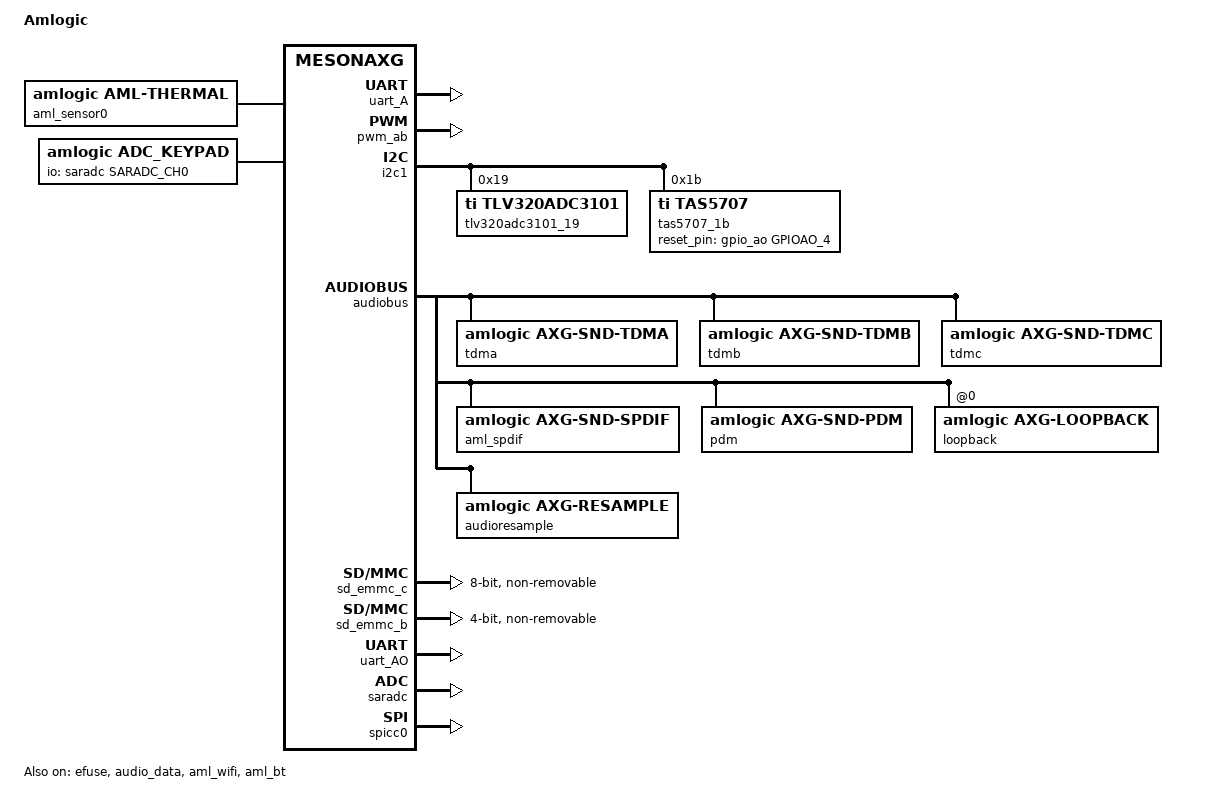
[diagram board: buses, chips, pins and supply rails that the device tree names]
// SPDX-License-Identifier: (GPL-2.0+ OR MIT)
/*
 * Copyright (c) 2019 Amlogic, Inc. All rights reserved.
 */

/dts-v1/;

#include "mesonaxg.dtsi"

/ {
	model = "Amlogic";
	amlogic-dt-id = "axg_s420_512m";
	compatible = "amlogic, axg";
	interrupt-parent = <&gic>;
	#address-cells = <2>;
	#size-cells = <2>;

	aliases {
		serial0 = &uart_AO;
		serial1 = &uart_A;
		i2c0 = &i2c0;
		i2c1 = &i2c1;
		i2c2 = &i2c2;
		i2c3 = &i2c3;
		i2c_AO = &i2c_AO;
		spi1 = &spicc0;
		spi2 = &spicc1;
	};

	memory@00000000 {
		device_type = "memory";
		linux,usable-memory = <0x0 0x000000 0x0 0x20000000>;
	};

	reserved-memory {
		#address-cells = <2>;
		#size-cells = <2>;
		ranges;
		/* global autoconfigured region for contiguous allocations */
		ramoops@0x07400000 {
			compatible = "ramoops";
			reg = <0x0 0x07400000 0x0 0x00100000>;
			record-size = <0x20000>;
			console-size = <0x40000>;
			ftrace-size = <0x80000>;
			pmsg-size = <0x20000>;
		};

		secmon_reserved:linux,secmon {
			compatible = "shared-dma-pool";
			reusable;
			size = <0x0 0x400000>;
			alignment = <0x0 0x400000>;
			alloc-ranges = <0x0 0x05000000 0x0 0x400000>;
		};

		secos_reserved:linux,secos {
			status = "disable";
			compatible = "amlogic, aml_secos_memory";
			reg = <0x0 0x05300000 0x0 0x2000000>;
			no-map;
		};
	};

	meson_cooldev: meson-cooldev@0 {
		status = "okay";
		compatible = "amlogic, meson-cooldev";
		cooling_devices {
			cpucore_cool_cluster0 {
				cluster_id = <0>;
				node_name = "cpucore_cool0";
				device_type = "cpucore";
			};
		};
		cpucore_cool0:cpucore_cool0 {
			#cooling-cells = <2>;
		};
	};/*meson cooling devices end*/

	aml_sensor0: aml-sensor@0 {
		compatible = "amlogic, aml-thermal";
		device_name = "thermal";
		#thermal-sensor-cells = <1>;
		mboxes = <&mailbox 0>;
	};
	thermal-zones {
		soc_thermal {
			polling-delay = <1000>;
			polling-delay-passive = <100>;
			sustainable-power = <1050>;

			thermal-sensors = <&aml_sensor0 3>;

			trips {
				switch_on: trip-point@0 {
					temperature = <70000>;
					hysteresis = <1000>;
					type = "passive";
				};
				control: trip-point@1 {
					temperature = <80000>;
					hysteresis = <1000>;
					type = "passive";
				};
				hot: trip-point@2 {
					temperature = <85000>;
					hysteresis = <5000>;
					type = "hot";
				};
				critical: trip-point@3 {
					temperature = <260000>;
					hysteresis = <1000>;
					type = "critical";
				};
			};

			cooling-maps {
				cpufreq_cooling_map {
					trip = <&control>;
					cooling-device = <&CPU0 0 4>;
					contribution = <1024>;
				};
				cpucore_cooling_map {
					trip = <&hot>;
					cooling-device = <&cpucore_cool0 0 3>;
					contribution = <1024>;
				};
			};
		};
	};

	dwc3: dwc3@ff500000 {
		compatible = "synopsys, dwc3";
		status = "disabled";
		reg = <0x0 0xff500000 0x0 0x100000>;
		interrupts = <0 30 4>;
		usb-phy = <&usb2_phy>, <&usb3_phy>;
		cpu-type = "gxl";
		clock-src = "usb3.0";
		//clocks = <&clkc CLKID_USB_GENERAL>;
		//clock-names = "dwc_general";
	};

	usb2_phy: usb2phy@ffe09000 {
		compatible = "amlogic, amlogic-new-usb2";
		status = "disabled";
		portnum = <4>;
		reg = <0x0 0xffe09000 0x0 0x80
					0x0 0xffd01008 0x0 0x4>;
	};

	usb3_phy: usb3phy@ffe09080 {
		compatible = "amlogic, amlogic-new-usb3";
		status = "disabled";
		portnum = <0>;
		reg = <0x0 0xffe09080 0x0 0x20>;
		interrupts = <0 16 4>;
		otg = <1>;
		gpio-vbus-power = "GPIOAO_5";
		gpios = <&gpio_ao GPIOAO_5 GPIO_ACTIVE_HIGH>;
	};

	dwc2_a {
		compatible = "amlogic, dwc2";
		device_name = "dwc2_a";
		reg = <0x0 0xff400000 0x0 0x40000>;
		status = "disabled";
		interrupts = <0 31 4>;
		pl-periph-id = <0>; /** lm name */
		clock-src = "usb0"; /** clock src */
		port-id = <0>;  /** ref to mach/usb.h */
		port-type = <2>;        /** 0: otg, 1: host, 2: slave */
		port-speed = <0>; /** 0: default, high, 1: full */
		port-config = <0>; /** 0: default */
		/*0:default,1:single,2:incr,3:incr4,4:incr8,5:incr16,6:disable*/
		port-dma = <0>;
		port-id-mode = <0>; /** 0: hardware, 1: sw_host, 2: sw_slave*/
		usb-fifo = <728>;
		cpu-type = "gxl";
		/** 0: normal, 1: otg+dwc3 host only, 2: otg+dwc3 device only*/
		controller-type = <3>;
		phy-reg = <0xffe09000>;
		phy-reg-size = <0xa0>;
		//clocks = <&clkc CLKID_USB_GENERAL
		//	&clkc CLKID_USB1_TO_DDR
		//	&clkc CLKID_USB1>;
		//clock-names = "usb_general",
		//	"usb1",
		//	"usb1_to_ddr";
	};

	uart_A: serial@ffd24000 {
		compatible = "amlogic, meson-uart";
		reg = <0x0 0xffd24000 0x0 0x18>;
		interrupts = <0 26 1>;
		status = "disabled";
		clocks = <&xtal
			&clkc CLKID_CLK81_UART0>;
		clock-names = "clk_uart",
			"clk_gate";
		fifosize = < 128 >;
		pinctrl-names = "default";
		pinctrl-0 = <&a_uart_pins>;
	};

	uart_B: serial@ffd23000 {
		compatible = "amlogic, meson-uart";
		reg = <0x0 0xffd23000 0x0 0x18>;
		interrupts = <0 75 1>;
		status = "disable";
		//clocks = <&xtal
		//	&clkc CLKID_UART1>;
		//clock-names = "clk_uart",
		//	"clk_gate";
		fifosize = < 64 >;
		pinctrl-names = "default";
		pinctrl-0 = <&b_uart_pins>;
	};
	auge_sound {
		compatible = "amlogic, auge-sound-card";
		aml-audio-card,name = "AML-AUGESOUND";
		//interrupts = <GIC_SPI 51 IRQ_TYPE_EDGE_RISING>;
		//interrupt-names = "audio_exception64";
		status = "okay";
		aml-audio-card,dai-link@0 {
			format = "dsp_a";
			mclk-fs = <256>;//512
			//continuous-clock;
			bitclock-inversion;
			//frame-inversion;
			bitclock-master = <&tdma>;
			frame-master = <&tdma>;
			cpu {
				sound-dai = <&tdma>;
				dai-tdm-slot-tx-mask = <1 1>;
				dai-tdm-slot-rx-mask = <1 1>;
				dai-tdm-slot-num = <2>;
				dai-tdm-slot-width = <32>;
				system-clock-frequency = <12288000>;
			};
			codec {
				sound-dai = <&dummy_codec>;
			};
		};

		aml-audio-card,dai-link@1 {
			format = "i2s";
			mclk-fs = <256>;
			//continuous-clock;
			//bitclock-inversion;
			//frame-inversion;
			bitclock-master = <&tdmb>;
			frame-master = <&tdmb>;
			cpu {
				sound-dai = <&tdmb>;
				dai-tdm-slot-tx-mask = <1 1>;
				dai-tdm-slot-rx-mask = <1 1>;
				dai-tdm-slot-num = <2>;
				dai-tdm-slot-width = <32>;
				system-clock-frequency = <12288000>;
			};
			codec {
				sound-dai = <&tlv320adc3101_19>;
				//sound-dai = <&tas5707_1b>;
			};
		};

		aml-audio-card,dai-link@2 {
			format = "i2s";
			mclk-fs = <256>;
			continuous-clock;
			/* tdmb clk using tdmc so no bclk-inv */
			//bitclock-inversion;
			//frame-inversion;
			bitclock-master = <&tdmc>;
			frame-master = <&tdmc>;
			cpu {
				sound-dai = <&tdmc>;
				dai-tdm-slot-tx-mask = <1 1>;
				dai-tdm-slot-rx-mask = <1 1>;
				dai-tdm-slot-num = <2>;
				dai-tdm-slot-width = <32>;
				system-clock-frequency = <12288000>;
			};
			codec {
				sound-dai = <&tas5707_1b>;
			};
		};

		aml-audio-card,dai-link@3 {
			mclk-fs = <256>;
			cpu {
				sound-dai = <&pdm>;
			};
			codec {
				sound-dai = <&dummy_codec>;
			};
		};

		aml-audio-card,dai-link@4 {
			mclk-fs = <128>;
			cpu {
				sound-dai = <&aml_spdif>;
			};
			codec {
				sound-dai = <&dummy_codec>;
			};
		};

		aml-audio-card,dai-link@5 {
			mclk-fs = <256>;
			continuous-clock;
			suffix-name = "alsaPORT-loopback";
			cpu {
				sound-dai = <&loopback>;
				system-clock-frequency = <12288000>;
			};
			codec {
				sound-dai = <&dummy_codec>;
			};
		};
	};

	adc_keypad {
		compatible = "amlogic, adc_keypad";
		status = "okay";
		key_name = "power", "vol-", "vol+", "wifi", "<<", ">>";
		key_num = <6>;
		io-channels = <&saradc SARADC_CH0>;
		io-channel-names = "key-chan-0";
		key_chan = <SARADC_CH0 SARADC_CH0 SARADC_CH0
					SARADC_CH0 SARADC_CH0 SARADC_CH0>;
		key_code = <116 114 115 139 105 106>;
		key_val = <0 143 266 389 512 635>; //val=voltage/1800mV*1023
		key_tolerance = <40 40 40 40 40 40>;
	};

	partitions: partitions{
		parts = <11>;
		part-0 = <&logo>;
		part-1 = <&recovery>;
		part-2 = <&rsv>;
		part-3 = <&tee>;
		part-4 = <&crypt>;
		part-5 = <&misc>;
		part-6 = <&instaboot>;
		part-7 = <&boot>;
		part-8 = <&system>;
		part-9 = <&cache>;
		part-10 = <&data>;

		logo:logo{
			pname = "logo";
			size = <0x0 0x2000000>;
			mask = <1>;
		};
		recovery:recovery{
			pname = "recovery";
			size = <0x0 0x2000000>;
			mask = <1>;
		};
		rsv:rsv{
			pname = "rsv";
			size = <0x0 0x800000>;
			mask = <1>;
		};
		tee:tee{
			pname = "tee";
			size = <0x0 0x800000>;
			mask = <1>;
		};
		crypt:crypt{
			pname = "crypt";
			size = <0x0 0x2000000>;
			mask = <1>;
		};
		misc:misc{
			pname = "misc";
			size = <0x0 0x2000000>;
			mask = <1>;
		};
		instaboot:instaboot{
			pname = "instaboot";
			size = <0x0 0x400000>;
			mask = <1>;
		};
		boot:boot
		{
			pname = "boot";
			size = <0x0 0x2000000>;
			mask = <1>;
		};
		system:system
		{
			pname = "system";
			size = <0x0 0x80000000>;
			mask = <1>;
		};
		cache:cache
		{
			pname = "cache";
			size = <0x0 0x20000000>;
			mask = <2>;
		};
		data:data
		{
			pname = "data";
			size = <0xffffffff 0xffffffff>;
			mask = <4>;
		};
	};

	unifykey{
		compatible = "amlogic, unifykey";
		status = "ok";

		unifykey-num = <6>;
		unifykey-index-0 = <&keysn_0>;
		unifykey-index-1 = <&keysn_1>;
		unifykey-index-2 = <&keysn_2>;
		unifykey-index-3 = <&keysn_3>;
		unifykey-index-4 = <&keysn_4>;
		unifykey-index-5 = <&keysn_5>;

		keysn_0: key_0{
			key-name = "usid";
			key-device = "normal";
			key-permit = "read","write","del";
		};
		keysn_1:key_1{
			key-name = "mac";
			key-device = "normal";
			key-permit = "read","write","del";
		};
		keysn_2:key_2{
			key-name = "secure_boot_set";
			key-device = "efuse";
			key-permit = "write";
		};
		keysn_3:key_3{
			key-name = "mac_bt";
			key-device = "normal";
			key-permit = "read","write","del";
			key-type  = "mac";
		};
		keysn_4:key_4{
			key-name = "mac_wifi";
			key-device = "normal";
			key-permit = "read","write","del";
			key-type = "mac";
		};
		keysn_5:key_5{
			key-name = "deviceid";
			key-device = "normal";
			key-permit = "read","write","del";
		};
	};//End unifykey
}; /* end of / */

&efuse {
	status = "ok";
};

&pwm_ab {
	status = "disabled";
};

/* Audio Related start */
/* for spk board */
&i2c1 {
	status = "okay";
	pinctrl-names="default";
	pinctrl-0=<&b_i2c_master>;

	tlv320adc3101_19: tlv320adc3101_19@19 {
		compatible = "ti, tlv320adc3101";
		#sound-dai-cells = <0>;
		reg = <0x19>;
		differential_pair = <1>;
		status = "okay";
	};

	tas5707_1b: tas5707_1b@1b {
		compatible = "ti,tas5707";
		#sound-dai-cells = <0>;
		reg = <0x1b>;
		status = "okay";
		reset_pin = <&gpio_ao GPIOAO_4 0>;
	};

	tas5707_1d: tas5707_1d@1d {
		compatible = "ti,tas5707";
		#sound-dai-cells = <0>;
		reg = <0x1d>;
		status = "disable";
	};
};

/* for mic board */
&i2c_AO {
	status = "disabled";
	pinctrl-names="default";
	pinctrl-0=<&ao_i2c_master_pin2>;

	aml_pca9557: aml_pca9557@1f {
		compatible = "aml, ledring";
		reg = <0x1f>;
		mode = <0>; /*0: 6-led 1: 4key+2led */
		key_num = <4>;
		led_dev_name = "aml_ledring";
		key_dev_name = "aml_pca_key";
		key_name = "mute", "pause", "vol+", "vol-";
		key_value = <200 201 202 203>;
		status = "disabled";
	};
	tlv320adc3101_18: tlv320adc3101_18@18 {
		compatible = "ti,tlv320adc3101";
		#sound-dai-cells = <0>;
		reg = <0x18>;
		status = "disable";
	};
	tlv320adc3101_1a: tlv320adc3101_1a@1a {
		compatible = "ti,tlv320adc3101";
		#sound-dai-cells = <0>;
		reg = <0x1a>;
		status = "disable";
	};
	tlv320adc3101_1b: tlv320adc3101_1b@1b {
		compatible = "ti,tlv320adc3101";
		#sound-dai-cells = <0>;
		reg = <0x1b>;
		status = "disable";
	};
	es7243_10: es7243_10@10 {
		compatible = "MicArray_0";
		#sound-dai-cells = <0>;
		reg = <0x10>;
		status = "disable";
	};
	es7243_12: es7243_12@12 {
		compatible = "MicArray_1";
		#sound-dai-cells = <0>;
		reg = <0x12>;
		status = "disable";
	};
	es7243_13: es7243_13@13 {
		compatible = "MicArray_2";
		#sound-dai-cells = <0>;
		reg = <0x13>;
		status = "disable";
	};
	is31fl3236a: is31f3236a@3c {
			compatible = "issi,is31fl3236";
			reg = <0x3c>;
			status = "disable";
			led1_r {
					label="LED1_R";
					reg_offset = <24>;
			};
			led1_g {
					label="LED1_G";
					reg_offset = <23>;
			};
			led1_b {
					label="LED1_B";
					reg_offset = <22>;
			};
			led2_r {
					label="LED2_R";
					reg_offset = <21>;
			};
			led2_g {
					label="LED2_G";
					reg_offset = <20>;
			};
			led2_b {
					label="LED2_B";
					reg_offset = <19>;
			};
			led3_r {
					label="LED3_R";
					reg_offset = <18>;
			};
			led3_g {
					label="LED3_G";
					reg_offset = <17>;
			};
			led3_b {
					label="LED3_B";
					reg_offset = <16>;
			};
			led4_r {
					label="LED4_R";
					reg_offset = <15>;
			};
			led4_g {
					label="LED4_G";
					reg_offset = <14>;
			};
			led4_b {
					label="LED4_B";
					reg_offset = <13>;
			};
			led5_r {
					label="LED5_R";
					reg_offset = <36>;
			};
			led5_g {
					label="LED5_G";
					reg_offset = <35>;
			};
			led5_b {
					label="LED5_B";
					reg_offset = <34>;
			};
			led6_r {
					label="LED6_R";
					reg_offset = <33>;
			};
			led6_g {
					label="LED6_G";
					reg_offset = <32>;
			};
			led6_b {
					label="LED6_B";
					reg_offset = <31>;
			};
			led7_r {
					label="LED7_R";
					reg_offset = <30>;
			};
			led7_g {
					label="LED7_G";
					reg_offset = <29>;
			};
			led7_b {
					label="LED7_B";
					reg_offset = <28>;
			};
			led8_r {
					label="LED8_R";
					reg_offset = <27>;
			};
			led8_g {
					label="LED8_G";
					reg_offset = <26>;
			};
			led8_b {
					label="LED8_B";
					reg_offset = <25>;
			};
	};
};

&audiobus {
	tdma: tdma {
		compatible = "amlogic, axg-snd-tdma";
		#sound-dai-cells = <0>;
		dai-tdm-lane-slot-mask-in = <1 0>;
		dai-tdm-lane-slot-mask-out = <0 1>;
		dai-tdm-clk-sel = <0>;
		clocks = <&clkaudio CLKID_AUDIO_MCLK_A
				&clkc CLKID_MPLL0>;
		clock-names = "mclk", "clk_srcpll";
		pinctrl-names = "tdm_pins";
		pinctrl-0 = <&tdma_pins>;
	};

	tdmb: tdmb {
		compatible = "amlogic, axg-snd-tdmb";
		#sound-dai-cells = <0>;
		dai-tdm-lane-slot-mask-out = <1 0>;
		dai-tdm-lane-slot-mask-in = <0 1>;
		dai-tdm-clk-sel = <1>;
		clocks = <&clkaudio CLKID_AUDIO_MCLK_B
				&clkc CLKID_MPLL1>;
		clock-names = "mclk", "clk_srcpll";
		pinctrl-names = "tdm_pins";
		pinctrl-0 = <&tdmb_pins &tdmb_mclk>;
	};

	tdmc: tdmc {
		compatible = "amlogic, axg-snd-tdmc";
		#sound-dai-cells = <0>;
		dai-tdm-lane-slot-mask-out = <1 0>;
		dai-tdm-lane-slot-mask-in = <0 1>;
		dai-tdm-clk-sel = <2>;
		clocks = <&clkaudio CLKID_AUDIO_MCLK_C
				&clkc CLKID_MPLL2>;
		clock-names = "mclk", "clk_srcpll";
		pinctrl-names = "tdm_pins";
		pinctrl-0 = <&tdmc_pins &tdmc_mclk>;
	};

	aml_spdif: spdif {
		compatible = "amlogic, axg-snd-spdif";
		#sound-dai-cells = <0>;
		clocks = <&clkc CLKID_MPLL0
				&clkc CLKID_FCLK_DIV4
				&clkaudio CLKID_AUDIO_SPDIFIN
				&clkaudio CLKID_AUDIO_SPDIFOUT
				&clkaudio CLKID_AUDIO_SPDIFIN_CTRL
				&clkaudio CLKID_AUDIO_SPDIFOUT_CTRL>;
		clock-names = "sysclk", "fixed_clk", "gate_spdifin",
				"gate_spdifout", "clk_spdifin", "clk_spdifout";
		interrupts =
				<GIC_SPI 87 IRQ_TYPE_EDGE_RISING>;

		interrupt-names = "irq_spdifin";
		pinctrl-names = "spdif_pins";
		pinctrl-0 = <&spdifout &spdifin>;

		/*
		 * whether do asrc for pcm.
		 * if raw data, asrc is disabled automatically
		 * 0: "Disable",
		 * 1: "Enable:32K",
		 * 2: "Enable:44K",
		 * 3: "Enable:48K",
		 * 4: "Enable:88K",
		 * 5: "Enable:96K",
		 * 6: "Enable:176K",
		 * 7: "Enable:192K",
		 */
		auto_asrc = <0>;
		status = "okay";
	};

	pdm: pdm {
		compatible = "amlogic, axg-snd-pdm";
		#sound-dai-cells = <0>;
		clocks = <&clkaudio CLKID_AUDIO_PDM
			&clkc CLKID_FCLK_DIV3
			&clkc CLKID_MPLL3
			&clkaudio CLKID_AUDIO_PDMIN0
			&clkaudio CLKID_AUDIO_PDMIN1>;
		clock-names = "gate",
			"sysclk_srcpll",
			"dclk_srcpll",
			"pdm_dclk",
			"pdm_sysclk";
		pinctrl-names = "pdm_pins";
		pinctrl-0 = <&pdmin>;
		filter_mode = <1>; /* mode 0~4, defalut:1 */
		status = "okay";
	};

	loopback:loopback@0 {
		compatible = "amlogic, axg-loopback";
		#sound-dai-cells = <0>;

		clocks = <&clkaudio CLKID_AUDIO_PDM
			&clkc CLKID_FCLK_DIV3
			&clkc CLKID_MPLL3
			&clkaudio CLKID_AUDIO_PDMIN0
			&clkaudio CLKID_AUDIO_PDMIN1
			&clkc CLKID_MPLL0
			&clkaudio CLKID_AUDIO_MCLK_A>;
		clock-names = "pdm_gate",
			"pdm_sysclk_srcpll",
			"pdm_dclk_srcpll",
			"pdm_dclk",
			"pdm_sysclk",
			"tdminlb_mpll",
			"tdminlb_mclk";

		/* datain src
		 * 0: tdmin_a;
		 * 1: tdmin_b;
		 * 2: tdmin_c;
		 * 3: spdifin;
		 * 4: pdmin;
		 */
		datain_src = <4>;
		datain_chnum = <6>;
		datain_chmask = <0x3f>;
		/* config which data pin for loopback */
		datain-lane-mask-in = <1 1 1 0>;

		/* calc mclk for datalb */
		mclk-fs = <256>;

		/* tdmin_lb src
		 * 0: tdmoutA
		 * 1: tdmoutB
		 * 2: tdmoutC
		 * 3: PAD_TDMINA_DIN*, refer to core pinmux
		 * 4: PAD_TDMINB_DIN*, refer to core pinmux
		 * 5: PAD_TDMINC_DIN*, refer to core pinmux
		 * 6: PAD_TDMINA_D*, oe, refer to core pinmux
		 * 7: PAD_TDMINB_D*, oe, refer to core pinmux
		 */
		/* if tdmin_lb >= 3, use external loopback */
		datalb_src = <2>;
		datalb_chnum = <2>;
		datalb_chmask = <0x3>;
		/* config which data pin as loopback */
		datalb-lane-mask-in = <1 0 0 0>;

		status = "okay";
	};

	audioresample: resample {
		compatible = "amlogic, axg-resample";
		clocks = <&clkc CLKID_MPLL3
				&clkaudio CLKID_AUDIO_MCLK_F
				&clkaudio CLKID_AUDIO_RESAMPLE_CTRL>;
		clock-names = "resample_pll", "resample_src", "resample_clk";
		/*same with toddr_src
		 *	TDMIN_A,
		 *	TDMIN_B,
		 *	TDMIN_C,
		 *	SPDIFIN,
		 *	PDMIN,
		 *	NONE,
		 *	TDMIN_LB,
		 *	LOOPBACK,
		 */
		resample_module = <3>;
		status = "okay";
	};
}; /* end of audiobus */

&sd_emmc_c {
		status = "okay";
		pinctrl-names = "default";
		pinctrl-0 = <&emmc_conf_pull_up>, <&emmc_conf_pull_done>;

		bus-width = <8>;
		cap-sd-highspeed;
		cap-mmc-highspeed;
		mmc-ddr-1_8v;
		mmc-hs200-1_8v;
		mmc-hs400-1_8v;
		max-frequency = <200000000>;
		non-removable;
		disable-wp;
		init_core_phase = <3>;
		no-sd;
		no-sdio;
	};

&sd_emmc_b {
		status = "okay";
		pinctrl-names = "default";
		pinctrl-0 = <&sdio_clk_cmd_pins>, <&sdio_all_pins>;

		bus-width = <4>;
		cap-sd-highspeed;
		sd-uhs-sdr12;
		sd-uhs-sdr25;
		sd-uhs-sdr50;
		sd-uhs-sdr104;
		max-frequency = <200000000>;

		non-removable;
		disable-wp;
		init_core_phase = <3>;
		init_tx_phase = <0>;
		no-mmc;
		no-sd;
	};

&pinctrl_periphs {
	tdma_pins: tdma {
		mux {
			groups = "tdma_sclk",
				"tdma_fs",
				"tdma_dout1",
				"tdma_din0";
			function = "tdma";
		};
	};
	tdmb_mclk: tdmb_mclk {
		mux {
			groups = "mclk_b";
			function = "mclk_b";
		};
	};

	tdmb_pins: tdmb {
		mux {
			groups = "tdmb_sclk",
				"tdmb_fs",
				"tdmb_din0",
				"tdmb_din1";
			function = "tdmb";
		};
	};

	tdmc_mclk: tdmc_mclk {
		mux {
			groups = "mclk_a";
			function = "mclk_a";
		};
	};

	tdmc_pins:tdmc {
		mux {
			groups = "tdmc_sclk",
				"tdmc_fs",
				"tdmc_dout0",
				"tdmc_din1";
			function = "tdmc";
		};
	};

	spdifout: spidfout {
		mux {
			groups = "spdif_out_a20";
			function = "spdif_out";
		};
	};

	spdifin: spidfin {
		mux {
			groups = "spdif_in_a19";
			function = "spdif_in";
		};
	};

	pdmin: pdmin {
		mux {
			groups = "pdm_dclk_a14",
				"pdm_din0",
				"pdm_din1",
				"pdm_din2",
				"pdm_din3";
			function = "pdm";
		};
	};
}; /* end of pinctrl_periphs */
/* Audio Related End */

&aobus{
	uart_AO: serial@3000 {
		compatible = "amlogic, meson-uart";
		reg = <0x0 0x3000 0x0 0x18>;
		interrupts = <0 193 1>;
		status = "okay";
		clocks = <&xtal>;
		clock-names = "clk_uart";
		xtal_tick_en = <0>;
		fifosize = < 64 >;
	//	pinctrl-names = "default";
	//	pinctrl-0 = <&ao_uart_pins>;
		support-sysrq = <0>;	/* 0 not support , 1 support */
	};

	uart_AO_B: serial@4000 {
		compatible = "amlogic, meson-uart";
		reg = <0x0 0x4000 0x0 0x18>;
		interrupts = <0 197 1>;
		status = "disable";
		clocks = <&xtal>;
		clock-names = "clk_uart";
		fifosize = < 64 >;
		pinctrl-names = "default";
		pinctrl-0 = <&ao_b_uart_pins>;
	};
};

&mtd_nand {
	status = "disabled";
	#address-cells = <1>;
	#size-cells = <0>;

	bl_mode = <1>;
	fip_copies = <4>;
	fip_size = <0x200000>;
	ship_bad_block = <1>;
	disa_irq_flag = <1>;

	nand@bootloader {
		reg = <0>;
		#address-cells = <1>;
		#size-cells = <1>;
		nand-ecc-maximize;
		partition@0 {
			label = "bootloader";
			reg = <0x0 0x00000000>;
		};
	};
	nand@normal {
		reg = <0>;
		#address-cells = <1>;
		#size-cells = <1>;
		nand-ecc-maximize;

		partition@0 {
			label = "tpl";
			reg = <0x0 0x00000000>;
		};
		partition@1 {
			label = "misc";
			reg = <0x0 0x00200000>;
		};
		partition@2 {
			label = "logo";
			reg = <0x0 0x00200000>;
		};
		partition@3 {
			label = "recovery";
			reg = <0x0 0x1000000>;
		};
		partition@4 {
			label = "boot";
			reg = <0x0 0x0F00000>;
		};
		partition@5 {
			label = "system";
			reg = <0x0 0x11800000>;
		};
		partition@6 {
			label = "data";
			reg = <0x0 0xffffffff>;
		};
	};
};

&audio_data{
	status = "okay";
};

&saradc {
	status = "okay";
};

&spicc0 {
	status = "okay";
	pinctrl-names = "default";
	pinctrl-0 = <&spi0_pins>;
	cs-gpios = <&gpio GPIOZ_3 0>;
};

&spicc1 {
	status = "disabled";
	pinctrl-names = "default";
	pinctrl-0 = <&spi1_x_pins>;
	cs-gpios = <&gpio GPIOX_16 0>;
};

&cpus {
	CPU0:cpu@0 {
		#cooling-cells = <2>;
		dynamic-power-coefficient = <140>;
	};
};

&aml_wifi{
	status = "okay";
	interrupt-gpios = <&gpio  GPIOX_6  GPIO_ACTIVE_HIGH>;
	power_on-gpios = <&gpio   GPIOX_7  GPIO_ACTIVE_HIGH>;
	power_on_2-gpios= <&gpio  GPIOX_16 GPIO_ACTIVE_HIGH>;
};

&aml_bt {
	status = "okay";
	reset-gpios = <&gpio    GPIOX_21 GPIO_ACTIVE_HIGH>;
	//hostwake-gpios = <&gpio GPIOX_21 GPIO_ACTIVE_HIGH>;
};

&pwm_ab {
	pinctrl-0 = <&pwm_a_pins3>;
	pinctrl-names = "default";
	status = "okay";
};

&uart_A {
	status = "okay";
	uart-has-rtscts;
};
